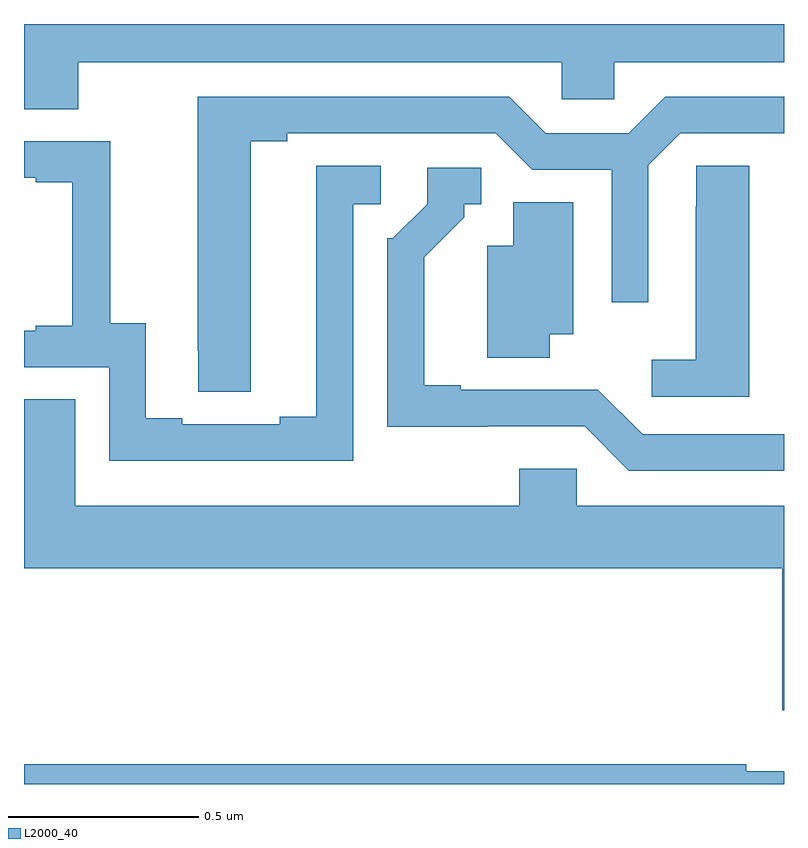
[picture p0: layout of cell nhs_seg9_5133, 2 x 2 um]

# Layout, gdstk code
import gdstk
lib = gdstk.Library(unit=1e-6, precision=1e-09)
def P(c, l, *ps):  # polygons
    for p in ps: c.add(gdstk.Polygon(p, *l))
L2000_40 = (2000, 40)

nhs_seg9_5133 = lib.new_cell('nhs_seg9_5133')
P(nhs_seg9_5133, L2000_40, [(175.143,1216.4),(176.415,1216.4),(176.415,1216.302),(176.553,1216.302),(176.553,1216.4),(177,1216.4),(177,1216.5),(175,1216.5),(175,1216.276),(175.143,1216.276)],
  [(175.597,1216.192),(175.693,1216.192),(175.693,1216.212),(176.241,1216.212),(176.337,1216.116),(176.547,1216.116),(176.547,1215.768),(176.643,1215.768),(176.643,1216.128),(176.727,1216.212),(177,1216.212),(177,1216.308),(176.687,1216.308),(176.591,1216.212),(176.373,1216.212),(176.277,1216.308),(175.457,1216.308),(175.457,1215.64),(175.458,1215.64),(175.458,1215.532),(175.597,1215.532)],
  [(175.866,1216.026),(175.939,1216.026),(175.939,1216.127),(175.769,1216.127),(175.769,1215.467),(175.673,1215.467),(175.673,1215.447),(175.417,1215.447),(175.417,1215.462),(175.321,1215.462),(175.321,1215.713),(175.227,1215.713),(175.227,1216.191),(175,1216.191),(175,1216.095),(175.031,1216.095),(175.031,1216.083),(175.127,1216.083),(175.127,1215.706),(175.031,1215.706),(175.031,1215.693),(175,1215.693),(175,1215.597),(175.224,1215.597),(175.224,1215.351),(175.866,1215.351)],
  [(176.908,1216.127),(176.769,1216.127),(176.769,1216.019),(176.768,1216.019),(176.768,1215.616),(176.652,1215.616),(176.652,1215.519),(176.908,1215.519)],
  [(177,1215.42),(176.628,1215.42),(176.51,1215.538),(176.414,1215.538),(176.414,1215.537),(176.149,1215.537),(176.149,1215.55),(176.053,1215.55),(176.053,1215.886),(176.158,1215.991),(176.158,1216.026),(176.203,1216.026),(176.203,1216.122),(176.061,1216.122),(176.061,1216.026),(175.971,1215.936),(175.956,1215.936),(175.956,1215.44),(176.219,1215.44),(176.219,1215.441),(176.475,1215.441),(176.592,1215.324),(177,1215.324)],
  [(176.383,1215.683),(176.446,1215.683),(176.446,1216.031),(176.288,1216.031),(176.288,1215.916),(176.219,1215.916),(176.219,1215.622),(176.383,1215.622)],
  [(177,1215.232),(176.454,1215.232),(176.454,1215.33),(176.303,1215.33),(176.303,1215.232),(175.135,1215.232),(175.135,1215.512),(175,1215.512),(175,1215.068),(176.996,1215.068),(176.996,1214.694),(177,1214.694)],
  [(177,1214.533),(176.9,1214.533),(176.9,1214.552),(175,1214.552),(175,1214.5),(177,1214.5)])

lib.write_gds('nhs_seg9_5133.gds')
